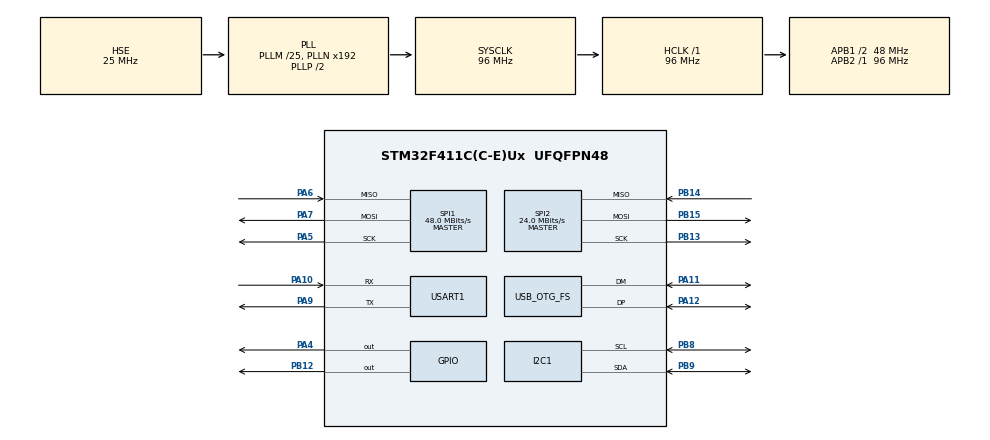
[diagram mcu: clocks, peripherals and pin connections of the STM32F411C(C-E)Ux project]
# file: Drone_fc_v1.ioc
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Mcu.Family=STM32F4
Mcu.Name=STM32F411C(C-E)Ux
Mcu.Package=UFQFPN48
NVIC.OTG_FS_IRQn=true\:0\:0\:false\:false\:true\:false\:true\:true
NVIC.PriorityGroup=NVIC_PRIORITYGROUP_4
PA10.Mode=Asynchronous
PA10.Signal=USART1_RX
PA11.Mode=Device_Only
PA11.Signal=USB_OTG_FS_DM
PA12.Mode=Device_Only
PA12.Signal=USB_OTG_FS_DP
PA4.Signal=GPIO_Output
PA5.Mode=Full_Duplex_Master
PA5.Signal=SPI1_SCK
PA6.Mode=Full_Duplex_Master
PA6.Signal=SPI1_MISO
PA7.Mode=Full_Duplex_Master
PA7.Signal=SPI1_MOSI
PA9.Mode=Asynchronous
PA9.Signal=USART1_TX
PB12.Signal=GPIO_Output
PB13.Mode=Full_Duplex_Master
PB13.Signal=SPI2_SCK
PB14.Mode=Full_Duplex_Master
PB14.Signal=SPI2_MISO
PB15.Mode=Full_Duplex_Master
PB15.Signal=SPI2_MOSI
PB8.Mode=I2C
PB8.Signal=I2C1_SCL
PB9.Mode=I2C
PB9.Signal=I2C1_SDA
PH0\ -\ OSC_IN.Mode=HSE-External-Oscillator
PH0\ -\ OSC_IN.Signal=RCC_OSC_IN
PH1\ -\ OSC_OUT.Mode=HSE-External-Oscillator
PH1\ -\ OSC_OUT.Signal=RCC_OSC_OUT
ProjectManager.HeapSize=0x200
ProjectManager.StackSize=0x400
ProjectManager.TargetToolchain=STM32CubeIDE
RCC.48MHZClocksFreq_Value=48000000
RCC.AHBFreq_Value=96000000
RCC.APB1CLKDivider=RCC_HCLK_DIV2
RCC.APB1Freq_Value=48000000
RCC.APB1TimFreq_Value=96000000
RCC.APB2Freq_Value=96000000
RCC.APB2TimFreq_Value=96000000
RCC.CortexFreq_Value=96000000
RCC.HCLKFreq_Value=96000000
RCC.HSE_VALUE=25000000
RCC.HSI_VALUE=16000000
RCC.LSE_VALUE=32768
RCC.PLLM=25
RCC.SYSCLKFreq_VALUE=96000000
RCC.SYSCLKSource=RCC_SYSCLKSOURCE_PLLCLK
RCC.VCOOutputFreq_Value=192000000
SPI1.CalculateBaudRate=48.0 MBits/s
SPI1.Direction=SPI_DIRECTION_2LINES
SPI1.Mode=SPI_MODE_MASTER
SPI1.VirtualType=VM_MASTER
SPI2.CalculateBaudRate=24.0 MBits/s
SPI2.Direction=SPI_DIRECTION_2LINES
SPI2.Mode=SPI_MODE_MASTER
SPI2.VirtualType=VM_MASTER
USART1.VirtualMode=VM_ASYNC
USB_DEVICE.CLASS_NAME_FS=CDC
USB_DEVICE.VirtualMode=Cdc
USB_DEVICE.VirtualModeFS=Cdc_FS
USB_OTG_FS.VirtualMode=Device_Only
VP_USB_DEVICE_VS_USB_DEVICE_CDC_FS.Mode=CDC_FS
board=custom

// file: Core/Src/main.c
/* USER CODE BEGIN Header */
/**
  ******************************************************************************
  * @file           : main.c
  * @brief          : Main program body
  ******************************************************************************
  * @attention
  *
  * Copyright (c) 2026 STMicroelectronics.
  * All rights reserved.
  *
  * This software is licensed under terms that can be found in the LICENSE file
  * in the root directory of this software component.
  * If no LICENSE file comes with this software, it is provided AS-IS.
  *
  ******************************************************************************
  */
/* USER CODE END Header */
#include "main.h"
#include "usb_device.h"

/* USER CODE BEGIN Includes */
#include "drivers/icm20602.h"
#include "drivers/bmp388.h"
#include "drivers/w25q128.h"
#include "drivers/sbus.h"
#include "attitude.h"
#include "flight_control.h"
#include "scheduler.h"
#include "dshot.h"
#include "motor_mixer.h"
#include "usbd_cdc_if.h"
#include <stdio.h>
/* USER CODE END Includes */

I2C_HandleTypeDef hi2c1;

SPI_HandleTypeDef hspi1;
SPI_HandleTypeDef hspi2;

UART_HandleTypeDef huart1;

/* USER CODE BEGIN PV */
static ICM20602_Data_t imu_data;
static BMP388_Data_t baro_data;
static SBUS_Frame_t rc_frame;
static Attitude_t attitude;
static FlightControlOutput_t fc_output;
static uint16_t motor_out[4];
static uint32_t last_tx_tick;
/* USER CODE END PV */

void SystemClock_Config(void);
static void MX_GPIO_Init(void);
static void MX_I2C1_Init(void);
static void MX_SPI1_Init(void);
static void MX_SPI2_Init(void);
static void MX_USART1_UART_Init(void);

int main(void)
{

  /* MCU Configuration--------------------------------------------------------*/

  /* Reset of all peripherals, Initializes the Flash interface and the Systick. */
  HAL_Init();

  /* Configure the system clock */
  SystemClock_Config();

  /* Initialize all configured peripherals */
  MX_GPIO_Init();
  MX_I2C1_Init();
  MX_SPI1_Init();
  MX_SPI2_Init();
  MX_USART1_UART_Init();
  MX_USB_DEVICE_Init();
  /* USER CODE BEGIN 2 */
  if (!ICM20602_Init(&hspi1))
  {
    Error_Handler();
  }
  ICM20602_CalibrateGyro(500);

  if (!BMP388_Init(&hi2c1))
  {
    Error_Handler();
  }

  if (!W25Q128_Init(&hspi2))
  {
    Error_Handler();
  }

  SBUS_Init(&huart1);

  FlightControl_Init();
  DShot_Init();
  Scheduler_Init();
  /* USER CODE END 2 */

  /* Infinite loop */
  while (1)
  {

    /* USER CODE BEGIN 3 */
    if (g_control_tick_flag)
    {
      const float dt = 0.001f;

      g_control_tick_flag = false;

      ICM20602_ReadData(&imu_data);
      SBUS_GetFrame(&rc_frame);

      FlightControl_Update(&imu_data, &rc_frame, dt, &attitude, &fc_output);
      MotorMixer_Update(&fc_output, &rc_frame, motor_out);
      DShot_Write(motor_out[0], motor_out[1], motor_out[2], motor_out[3]);
    }

    if ((HAL_GetTick() - last_tx_tick) >= 50U)
    {
      BMP388_ReadData(&baro_data);

      char json[288];
      int len;

      last_tx_tick = HAL_GetTick();

      len = snprintf(json, sizeof(json),
                      "{\"ax\":%.3f,\"ay\":%.3f,\"az\":%.3f,\"gx\":%.3f,\"gy\":%.3f,\"gz\":%.3f,\"alt\":%.2f,"
                      "\"ch1\":%u,\"ch2\":%u,\"ch3\":%u,\"ch4\":%u,"
                      "\"roll\":%.2f,\"pitch\":%.2f,\"pr\":%.2f,\"pp\":%.2f,\"py\":%.2f,"
                      "\"m1\":%u,\"m2\":%u,\"m3\":%u,\"m4\":%u}\r\n",
                      imu_data.ax, imu_data.ay, imu_data.az,
                      imu_data.gx, imu_data.gy, imu_data.gz,
                      baro_data.altitude,
                      rc_frame.channels[0], rc_frame.channels[1],
                      rc_frame.channels[2], rc_frame.channels[3],
                      attitude.roll, attitude.pitch,
                      fc_output.roll, fc_output.pitch, fc_output.yaw,
                      motor_out[0], motor_out[1], motor_out[2], motor_out[3]);

      CDC_Transmit_FS((uint8_t *)json, (uint16_t)len);
    }
  }
  /* USER CODE END 3 */
}

void SystemClock_Config(void)
{
  RCC_OscInitTypeDef RCC_OscInitStruct = {0};
  RCC_ClkInitTypeDef RCC_ClkInitStruct = {0};

  /** Configure the main internal regulator output voltage
  */
  __HAL_RCC_PWR_CLK_ENABLE();
  __HAL_PWR_VOLTAGESCALING_CONFIG(PWR_REGULATOR_VOLTAGE_SCALE1);

  /** Initializes the RCC Oscillators according to the specified parameters
  * in the RCC_OscInitTypeDef structure.
  */
  RCC_OscInitStruct.OscillatorType = RCC_OSCILLATORTYPE_HSE;
  RCC_OscInitStruct.HSEState = RCC_HSE_ON;
  RCC_OscInitStruct.PLL.PLLState = RCC_PLL_ON;
  RCC_OscInitStruct.PLL.PLLSource = RCC_PLLSOURCE_HSE;
  RCC_OscInitStruct.PLL.PLLM = 25;
  RCC_OscInitStruct.PLL.PLLN = 192;
  RCC_OscInitStruct.PLL.PLLP = RCC_PLLP_DIV2;
  RCC_OscInitStruct.PLL.PLLQ = 4;
  if (HAL_RCC_OscConfig(&RCC_OscInitStruct) != HAL_OK)
  {
    Error_Handler();
  }

  /** Initializes the CPU, AHB and APB buses clocks
  */
  RCC_ClkInitStruct.ClockType = RCC_CLOCKTYPE_HCLK|RCC_CLOCKTYPE_SYSCLK
                              |RCC_CLOCKTYPE_PCLK1|RCC_CLOCKTYPE_PCLK2;
  RCC_ClkInitStruct.SYSCLKSource = RCC_SYSCLKSOURCE_PLLCLK;
  RCC_ClkInitStruct.AHBCLKDivider = RCC_SYSCLK_DIV1;
  RCC_ClkInitStruct.APB1CLKDivider = RCC_HCLK_DIV2;
  RCC_ClkInitStruct.APB2CLKDivider = RCC_HCLK_DIV1;

  if (HAL_RCC_ClockConfig(&RCC_ClkInitStruct, FLASH_LATENCY_3) != HAL_OK)
  {
    Error_Handler();
  }
}

static void MX_I2C1_Init(void)
{

  hi2c1.Instance = I2C1;
  hi2c1.Init.ClockSpeed = 100000;
  hi2c1.Init.DutyCycle = I2C_DUTYCYCLE_2;
  hi2c1.Init.OwnAddress1 = 0;
  hi2c1.Init.AddressingMode = I2C_ADDRESSINGMODE_7BIT;
  hi2c1.Init.DualAddressMode = I2C_DUALADDRESS_DISABLE;
  hi2c1.Init.OwnAddress2 = 0;
  hi2c1.Init.GeneralCallMode = I2C_GENERALCALL_DISABLE;
  hi2c1.Init.NoStretchMode = I2C_NOSTRETCH_DISABLE;
  if (HAL_I2C_Init(&hi2c1) != HAL_OK)
  {
    Error_Handler();
  }

}

static void MX_SPI1_Init(void)
{

  /* SPI1 parameter configuration*/
  hspi1.Instance = SPI1;
  hspi1.Init.Mode = SPI_MODE_MASTER;
  hspi1.Init.Direction = SPI_DIRECTION_2LINES;
  hspi1.Init.DataSize = SPI_DATASIZE_8BIT;
  hspi1.Init.CLKPolarity = SPI_POLARITY_LOW;
  hspi1.Init.CLKPhase = SPI_PHASE_1EDGE;
  hspi1.Init.NSS = SPI_NSS_SOFT;
  hspi1.Init.BaudRatePrescaler = SPI_BAUDRATEPRESCALER_2;
  hspi1.Init.FirstBit = SPI_FIRSTBIT_MSB;
  hspi1.Init.TIMode = SPI_TIMODE_DISABLE;
  hspi1.Init.CRCCalculation = SPI_CRCCALCULATION_DISABLE;
  hspi1.Init.CRCPolynomial = 10;
  if (HAL_SPI_Init(&hspi1) != HAL_OK)
  {
    Error_Handler();
  }

}

static void MX_SPI2_Init(void)
{

  /* SPI2 parameter configuration*/
  hspi2.Instance = SPI2;
  hspi2.Init.Mode = SPI_MODE_MASTER;
  hspi2.Init.Direction = SPI_DIRECTION_2LINES;
  hspi2.Init.DataSize = SPI_DATASIZE_8BIT;
  hspi2.Init.CLKPolarity = SPI_POLARITY_LOW;
  hspi2.Init.CLKPhase = SPI_PHASE_1EDGE;
  hspi2.Init.NSS = SPI_NSS_SOFT;
  hspi2.Init.BaudRatePrescaler = SPI_BAUDRATEPRESCALER_2;
  hspi2.Init.FirstBit = SPI_FIRSTBIT_MSB;
  hspi2.Init.TIMode = SPI_TIMODE_DISABLE;
  hspi2.Init.CRCCalculation = SPI_CRCCALCULATION_DISABLE;
  hspi2.Init.CRCPolynomial = 10;
  if (HAL_SPI_Init(&hspi2) != HAL_OK)
  {
    Error_Handler();
  }

}

static void MX_USART1_UART_Init(void)
{

  huart1.Instance = USART1;
  huart1.Init.BaudRate = 115200;
  huart1.Init.WordLength = UART_WORDLENGTH_8B;
  huart1.Init.StopBits = UART_STOPBITS_1;
  huart1.Init.Parity = UART_PARITY_NONE;
  huart1.Init.Mode = UART_MODE_TX_RX;
  huart1.Init.HwFlowCtl = UART_HWCONTROL_NONE;
  huart1.Init.OverSampling = UART_OVERSAMPLING_16;
  if (HAL_UART_Init(&huart1) != HAL_OK)
  {
    Error_Handler();
  }

}

static void MX_GPIO_Init(void)
{
  GPIO_InitTypeDef GPIO_InitStruct = {0};

  /* GPIO Ports Clock Enable */
  __HAL_RCC_GPIOH_CLK_ENABLE();
  __HAL_RCC_GPIOA_CLK_ENABLE();
  __HAL_RCC_GPIOB_CLK_ENABLE();

  /*Configure GPIO pin Output Level */
  HAL_GPIO_WritePin(GPIOA, GPIO_PIN_4, GPIO_PIN_RESET);

  /*Configure GPIO pin Output Level */
  HAL_GPIO_WritePin(GPIOB, GPIO_PIN_12, GPIO_PIN_RESET);

  /*Configure GPIO pin : PA4 */
  GPIO_InitStruct.Pin = GPIO_PIN_4;
  GPIO_InitStruct.Mode = GPIO_MODE_OUTPUT_PP;
  GPIO_InitStruct.Pull = GPIO_NOPULL;
  GPIO_InitStruct.Speed = GPIO_SPEED_FREQ_LOW;
  HAL_GPIO_Init(GPIOA, &GPIO_InitStruct);

  /*Configure GPIO pin : PB12 */
  GPIO_InitStruct.Pin = GPIO_PIN_12;
  GPIO_InitStruct.Mode = GPIO_MODE_OUTPUT_PP;
  GPIO_InitStruct.Pull = GPIO_NOPULL;
  GPIO_InitStruct.Speed = GPIO_SPEED_FREQ_LOW;
  HAL_GPIO_Init(GPIOB, &GPIO_InitStruct);

}

void Error_Handler(void)
{
  __disable_irq();
  while (1)
  {
  }
}
